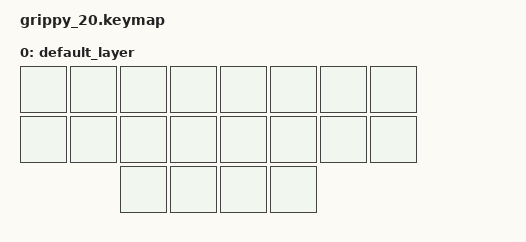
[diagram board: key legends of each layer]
#include <behaviors.dtsi>
#include <dt-bindings/zmk/bt.h>
#include <dt-bindings/zmk/keys.h>
#include <dt-bindings/zmk/outputs.h>

// CONFIG
#define COMBO_TIMEOUT 200
#define COMBO_LAYERS 0
#define STICKY_TIMEOUT 500

// LEFT SIDE
#define TLI  3 // TOP
#define TLM  2 // TOP
#define TLR  1 // TOP
#define TLP  0 // TOP
#define BLI 11 // BOTTOM
#define BLM 10 // BOTTOM
#define BLR  9 // BOTTOM
#define BLP  8 // BOTTOM
#define LOT 17 // O-THUMB
#define LIT 16 // I-THUMB

// RIGHT SIDE
#define TRI  7 // TOP
#define TRM  6 // TOP
#define TRR  5 // TOP
#define TRP  4 // TOP
#define BRI 15 // BOTTOM
#define BRM 14 // BOTTOM
#define BRR 13 // BOTTOM
#define BRP 12 // BOTTOM
#define ROT 19 // O-THUMB
#define RIT 18 // I-THUMB

&sk {
    release-after-ms = <STICKY_TIMEOUT>;
    quick-release;
};

/ {
  combos {
    compatible = "zmk,combos";

    #include "taipo.dtsi"
  };

  keymap {
    compatible = "zmk,keymap";

    default_layer {
      bindings = <
        &none &none &none &none    &none &none &none &none
        &none &none &none &none    &none &none &none &none
        /*       */ &none &none    &none &none
      >;
    };
  };
};
